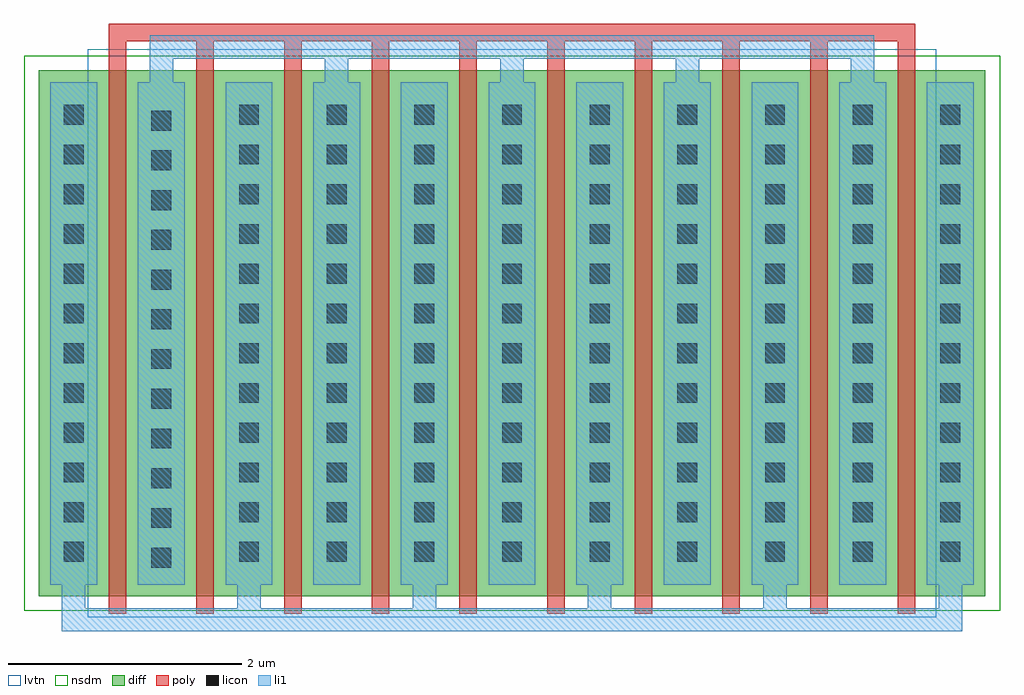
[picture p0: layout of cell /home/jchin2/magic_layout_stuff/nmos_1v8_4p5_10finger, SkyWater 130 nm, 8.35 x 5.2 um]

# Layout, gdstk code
import gdstk
lib = gdstk.Library(unit=1e-6, precision=1e-09)
def R(c, l, rs):  # rectangles x0, y0, x1, y1
    for r in rs: c.add(gdstk.rectangle(r[:2], r[2:], *l))
def A(c, l, x, y, w, h, nx, ny, dx, dy):  # array of equal rectangles
    R(c, l, [(x+i*dx, y+j*dy, x+i*dx+w, y+j*dy+h) for i in range(nx) for j in range(ny)])
diff = (65, 20)
poly = (66, 20)
licon = (66, 44)
li1 = (67, 20)
nsdm = (93, 44)
lvtn = (125, 44)

c__home_jchin2_magic_layou = lib.new_cell('/home/jchin2/magic_layout_stuff/nmos_1v8_4p5_10finger')
R(c__home_jchin2_magic_layou, diff, [(-8.5,0.15,-0.4,4.65)])
A(c__home_jchin2_magic_layou, poly, -7.9, 0, 0.15, 4.9, 10, 1, 0.75, 0)
R(c__home_jchin2_magic_layou, poly, [(-7.9,4.9,-1,5.05)])
A(c__home_jchin2_magic_layou, licon, -7.535, 0.395, 0.17, 0.17, 1, 12, 0, 0.34)
A(c__home_jchin2_magic_layou, licon, -8.285, 0.445, 0.17, 0.17, 1, 12, 0, 0.34)
A(c__home_jchin2_magic_layou, licon, -6.785, 0.445, 0.17, 0.17, 9, 12, 0.75, 0.34)
A(c__home_jchin2_magic_layou, li1, -8.3, 0.05, 0.2, 0.2, 6, 1, 1.5, 0)
A(c__home_jchin2_magic_layou, li1, -8.4, 0.25, 0.4, 4.3, 11, 1, 0.75, 0)
A(c__home_jchin2_magic_layou, li1, -7.55, 4.55, 0.2, 0.2, 5, 1, 1.5, 0)
R(c__home_jchin2_magic_layou, li1, [(-8.3,-0.15,-0.6,0.05), (-7.55,4.75,-1.35,4.95)])
R(c__home_jchin2_magic_layou, nsdm, [(-8.625,0.025,-0.275,4.775)])
R(c__home_jchin2_magic_layou, lvtn, [(-8.08,-0.03,-0.82,4.83)])

lib.write_gds('_home_jchin2_magic_layout_stuff_nmos_1v8_4p5_10finger.gds')
